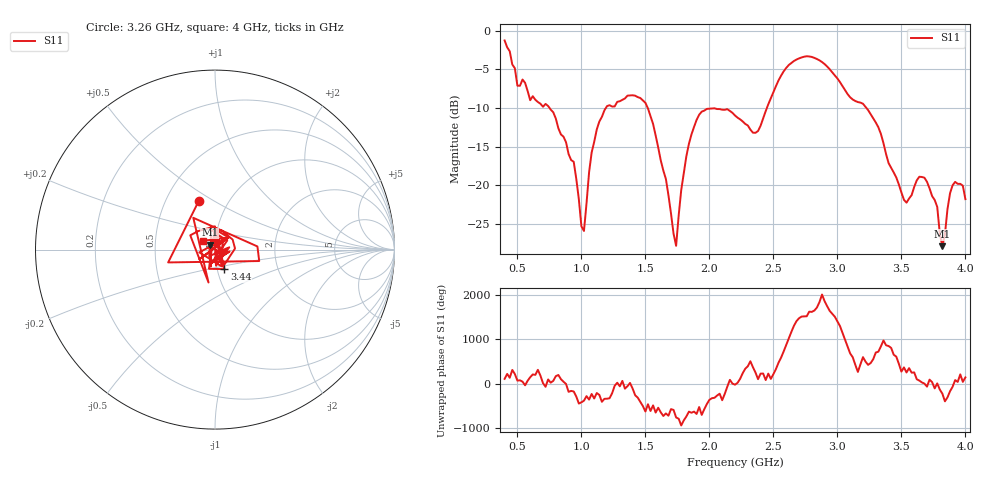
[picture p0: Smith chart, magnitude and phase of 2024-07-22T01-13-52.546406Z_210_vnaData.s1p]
!Created with skrf (http://scikit-rf.org).
# Hz S RI R 50.0
!freq ReS11 ImS11
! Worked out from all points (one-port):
!   181 points, 400 MHz to 4 GHz, reference 50 ohm
!   lowest |S11| = -27.9 dB at 3.82 GHz (marker M1), VSWR 1.08, Z = 47.1 + j2.61 ohm
!   |S11| at or under -10 dB: 750.6 MHz to 1.191 GHz (440.9 MHz wide, 45.4 % of centre); 1.518 GHz to 2.449 GHz (931.3 MHz wide, 46.9 % of centre); 3.226 GHz to end of sweep
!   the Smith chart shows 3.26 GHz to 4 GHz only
!   S11 on the Smith chart (normalised r, x): 3.26 GHz: 0.73, +0.43; 3.44 GHz: 1.08, -0.24; 4 GHz: 0.87, +0.09
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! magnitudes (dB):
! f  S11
! 400 MHz  -1.3
! 500 MHz  -7.1
! 740 MHz  -9.8
! 860 MHz  -13.7
! 940 MHz  -17.0
! 1.02 GHz  -25.9
! 1.06 GHz  -18.3
! 1.12 GHz  -12.8
! 1.3 GHz  -9.1
! 1.5 GHz  -9.3
! 1.66 GHz  -19.2
! 1.74 GHz  -27.8
! 1.76 GHz  -23.9
! 1.82 GHz  -16.2
! 1.92 GHz  -10.9
! 2.2 GHz  -11.0
! 2.38 GHz  -13.0
! 2.66 GHz  -3.9
! 2.86 GHz  -3.9
! 3.1 GHz  -8.6
! 3.26 GHz  -10.8
! 3.44 GHz  -18.4
! 3.56 GHz  -21.7
! 3.68 GHz  -19.0
! 3.78 GHz  -22.8
! 3.82 GHz  -27.9
! 3.9 GHz  -20.0
! 4 GHz  -21.8
